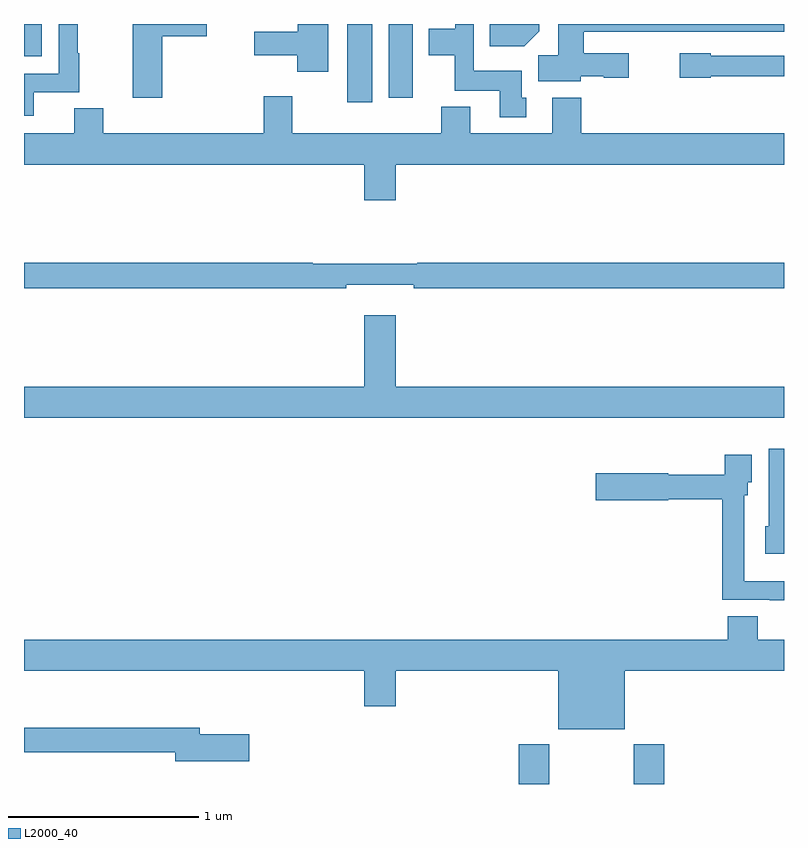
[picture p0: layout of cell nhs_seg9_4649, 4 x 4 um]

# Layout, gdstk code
import gdstk
lib = gdstk.Library(unit=1e-6, precision=1e-09)
def R(c, l, rs):  # rectangles x0, y0, x1, y1
    for r in rs: c.add(gdstk.rectangle(r[:2], r[2:], *l))
def P(c, l, *ps):  # polygons
    for p in ps: c.add(gdstk.Polygon(p, *l))
L2000_40 = (2000, 40)

nhs_seg9_4649 = lib.new_cell('nhs_seg9_4649')
R(nhs_seg9_4649, L2000_40, [(381.605,1186.5,381.765,1186.708), (382.21,1186.5,382.37,1186.708), (380.702,1190.088,380.833,1190.5), (380.921,1190.112,381.046,1190.5), (379,1190.33,379.093,1190.5)])
P(nhs_seg9_4649, L2000_40, [(381.93,1190.225),(382.05,1190.225),(382.05,1190.218),(382.183,1190.218),(382.183,1190.347),(381.947,1190.347),(381.947,1190.46),(383,1190.46),(383,1190.5),(381.812,1190.5),(381.812,1190.336),(381.707,1190.336),(381.707,1190.198),(381.93,1190.198)],
  [(380.602,1190.5),(380.44,1190.5),(380.44,1190.458),(380.211,1190.458),(380.211,1190.336),(380.438,1190.336),(380.438,1190.25),(380.602,1190.25)],
  [(381.643,1190.112),(381.619,1190.112),(381.619,1190.254),(381.366,1190.254),(381.366,1190.5),(381.27,1190.5),(381.27,1190.476),(381.131,1190.476),(381.131,1190.336),(381.268,1190.336),(381.268,1190.15),(381.503,1190.15),(381.503,1190.01),(381.643,1190.01)],
  [(379.727,1190.435),(379.963,1190.435),(379.963,1190.5),(379.573,1190.5),(379.573,1190.112),(379.727,1190.112)],
  [(379.052,1190.142),(379.291,1190.142),(379.291,1190.345),(379.283,1190.345),(379.283,1190.5),(379.182,1190.5),(379.182,1190.238),(379,1190.238),(379,1190.016),(379.052,1190.016)],
  [(381.712,1190.462),(381.712,1190.5),(381.451,1190.5),(381.451,1190.384),(381.634,1190.384)],
  [(382.614,1190.226),(383,1190.226),(383,1190.334),(382.614,1190.334),(382.614,1190.347),(382.452,1190.347),(382.452,1190.218),(382.614,1190.218)],
  [(380.956,1189.76),(383,1189.76),(383,1189.924),(381.932,1189.924),(381.932,1190.113),(381.779,1190.113),(381.779,1189.924),(381.349,1189.924),(381.349,1190.065),(381.197,1190.065),(381.197,1189.924),(380.413,1189.924),(380.413,1190.119),(380.261,1190.119),(380.261,1189.924),(379.418,1189.924),(379.418,1190.057),(379.265,1190.057),(379.265,1189.924),(379,1189.924),(379,1189.76),(380.792,1189.76),(380.792,1189.572),(380.956,1189.572)],
  [(380.696,1189.127),(381.052,1189.127),(381.052,1189.108),(383,1189.108),(383,1189.244),(381.07,1189.244),(381.07,1189.237),(380.519,1189.237),(380.519,1189.244),(379,1189.244),(379,1189.108),(380.696,1189.108)],
  [(383,1188.592),(380.956,1188.592),(380.956,1188.967),(380.792,1188.967),(380.792,1188.592),(379,1188.592),(379,1188.428),(383,1188.428)],
  [(383,1188.265),(382.919,1188.265),(382.919,1187.856),(382.901,1187.856),(382.901,1187.712),(383,1187.712)],
  [(383,1187.566),(382.791,1187.566),(382.791,1188.021),(382.81,1188.021),(382.81,1188.087),(382.831,1188.087),(382.831,1188.232),(382.687,1188.232),(382.687,1188.127),(382.392,1188.127),(382.392,1188.135),(382.008,1188.135),(382.008,1187.993),(382.392,1187.993),(382.392,1187.998),(382.675,1187.998),(382.675,1187.469),(382.925,1187.469),(382.925,1187.468),(383,1187.468)],
  [(382.162,1187.096),(383,1187.096),(383,1187.26),(382.863,1187.26),(382.863,1187.384),(382.703,1187.384),(382.703,1187.26),(379,1187.26),(379,1187.096),(380.792,1187.096),(380.792,1186.908),(380.956,1186.908),(380.956,1187.096),(381.812,1187.096),(381.812,1186.787),(382.162,1186.787)],
  [(380.185,1186.761),(379.924,1186.761),(379.924,1186.795),(379,1186.795),(379,1186.666),(379.796,1186.666),(379.796,1186.619),(380.185,1186.619)])

lib.write_gds('nhs_seg9_4649.gds')
